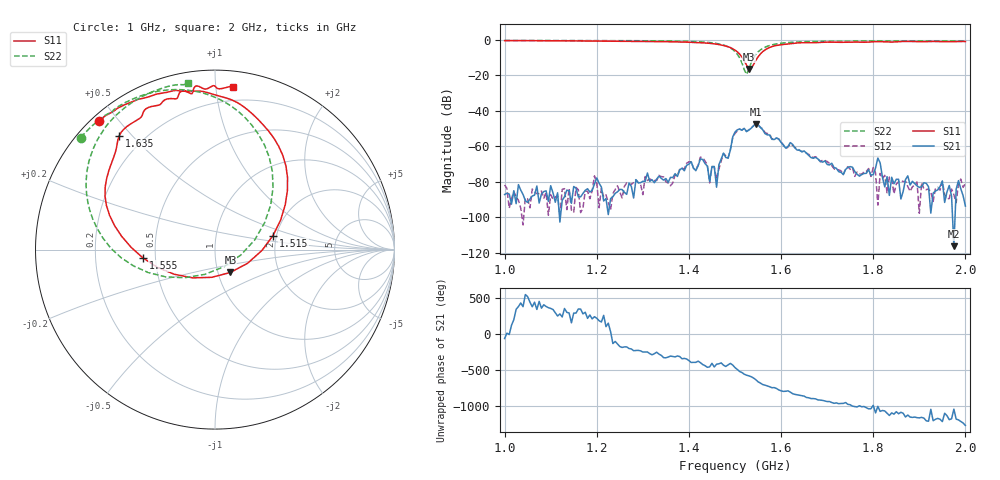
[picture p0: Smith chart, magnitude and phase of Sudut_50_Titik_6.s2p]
# Hz S RI R 50
! CMT, C1220, 16058040, 17.2.0/1
! Date: 14/08/2018 12:20:30
! Data: Format (Calibration Info)
! Freq  S11: Re/Im (F2)  S21: Re/Im (F2)  S12: Re/Im (F2)  S22: Re/Im (F2)
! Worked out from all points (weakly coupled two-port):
!   201 points, 1 GHz to 2 GHz, reference 50 ohm
!   highest |S21| = -47.34 dB at 1.545 GHz (marker M1); lowest = -116.3 dB at 1.975 GHz (marker M2)
!   lowest |S11| = -16.3 dB at 1.53 GHz (marker M3), VSWR 1.36, Z = 57.3 - j15 ohm
!   |S11| at or under -10 dB: 1.516 GHz to 1.549 GHz (32.68 MHz wide, 2.13 % of centre)
!   |S22| runs from -19.4 to -0.2 dB; largest |S21 - S12| = 0.00046
!   S11 on the Smith chart (normalised r, x): 1 GHz: 0.02, +0.45; 1.515 GHz: 1.92, +0.34; 1.555 GHz: 0.43, -0.05; 1.635 GHz: 0.11, +0.46; 2 GHz: 0.11, +1.11
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1e9  -0.6438 0.716  1.82e-05 -3.98e-05  -4.55e-05 6.76e-05  -0.7481 0.6241
1.17e9  -0.4643 0.8232  5.29e-06 -4.66e-05  -1.23e-05 -1.34e-05  -0.6116 0.7485
1.335e9  -0.1961 0.8846  3.08e-05 0.000142  4.6e-05 0.000145  -0.3967 0.8621
1.365e9  -0.1067 0.8833  9.41e-05 9.21e-05  4.13e-05 8.37e-05  -0.3291 0.8801
1.425e9  0.0869 0.8365  0.000335 -0.000296  0.000365 -0.000336  -0.1151 0.8829
1.445e9  0.1653 0.7919  -1.62e-05 -0.0001  -5.27e-05 -7.69e-05  -0.00589 0.8512
1.455e9  0.2118 0.7526  -5.04e-05 -0.000266  -2.82e-05 -0.000256  0.0597 0.8188
1.46e9  0.239 0.7264  3.3e-05 -6.21e-05  5.01e-05 -0.000107  0.0946 0.7964
1.465e9  0.2676 0.6959  0.000163 -0.000255  0.000114 -0.000196  0.1301 0.7697
1.5e9  0.4035 0.3294  -0.00084 -0.00239  -0.000772 -0.00219  0.3234 0.3456
1.515e9  0.3233 0.0784  -0.00287 -9.07e-05  -0.00286 -0.000178  0.2215 0.0542
1.53e9  0.0857 -0.1274  -0.00207 0.00201  -0.0021 0.00203  -0.0579 -0.1384
1.545e9  -0.2263 -0.1375  0.00051 0.00426  0.000389 0.00427  -0.3718 -0.1279
1.555e9  -0.4017 -0.0461  0.00276 0.002  0.00273 0.00217  -0.5241 -0.0443
1.635e9  -0.5344 0.6323  -0.000484 -0.000619  -0.000499 -0.000689  -0.6781 0.5624
1.67e9  -0.4213 0.7297  -0.000462 6.03e-07  -0.000485 -1.79e-06  -0.6186 0.67
1.77e9  -0.2309 0.8405  2.56e-05 0.000142  0.000105 0.000131  -0.4624 0.8194
1.8e9  -0.1992 0.8709  9.22e-06 0.000159  0.000171 0.000184  -0.4185 0.8453
1.81e9  -0.1847 0.8829  0.000144 0.000446  2.19e-05 -1.2e-06  -0.4045 0.8536
1.835e9  -0.134 0.8688  2.38e-05 -3.38e-05  0.000126 -5.28e-05  -0.3711 0.8698
1.975e9  0.0683 0.9049  1.28e-06 8.35e-07  -2.04e-05 -3.82e-05  -0.1766 0.9185
2e9  0.0991 0.9035  -2.01e-05 4.82e-06  -9.03e-05 1.47e-05  -0.1494 0.9276
